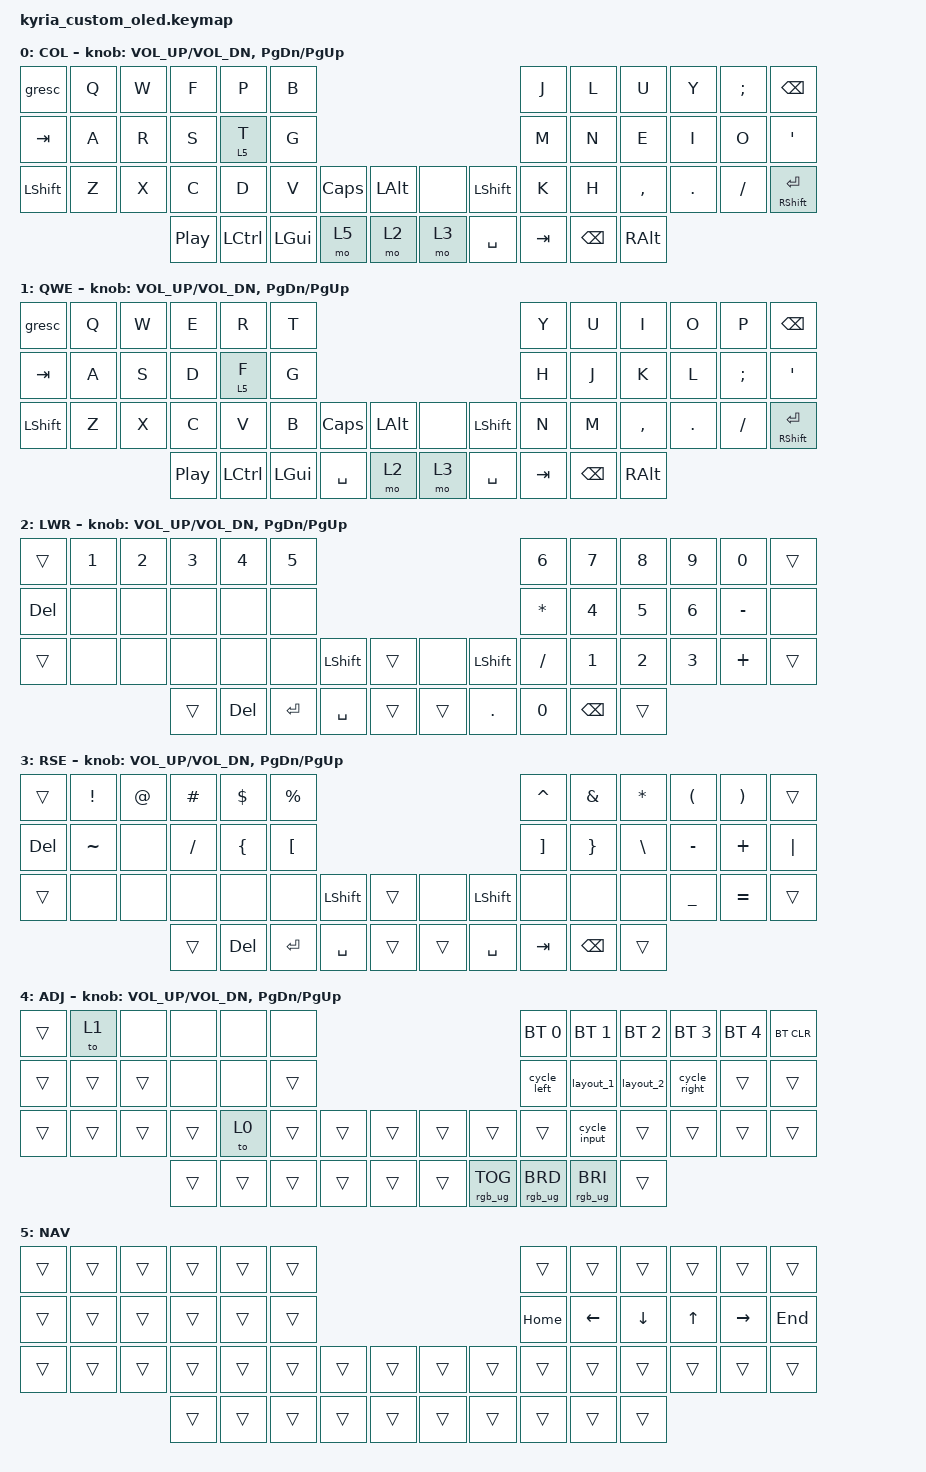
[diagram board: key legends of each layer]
/*
 * Copyright (c) 2023 The ZMK Contributors
 *
 * SPDX-License-Identifier: MIT
 */

#include <behaviors.dtsi>
#include <dt-bindings/zmk/bt.h>
#include <dt-bindings/zmk/keys.h>
#include <dt-bindings/zmk/rgb.h>

/* Layer name definitions. Top-to-bottom definition starting at zero and increasing by one.
 * See: https://github.com/zmkfirmware/zmk/issues/1284 for clarification.
 */

#define DEFAULT 0
#define QWERTY 1
#define LOWER 2
#define RAISE 3
#define ADJUST 4

&led_strip {
    chain-length = <31>; // Uncomment if using both per-key and underglow LEDs
};

&sensors { triggers-per-rotation = <36>; };

&left_encoder { steps = <72>; };

&right_encoder { steps = <72>; };

/ {
    behaviors {
        rgb_knob: rgb_knob {
            compatible = "zmk,behavior-sensor-rotate";
            #sensor-binding-cells = <0>;
            bindings = <&rgb_ug RGB_BRI>, <&rgb_ug RGB_BRD>;
        };
    };

    conditional_layers {
        compatible = "zmk,conditional-layers";

        adjust_layer {
            if-layers = <2 3>;
            then-layer = <4>;
        };
    };

    macros {
      layout_1: layout_1 {
        compatible = "zmk,behavior-macro";
        #binding-cells = <0>;
        bindings = <&macro_wait_time 100>,
                   <&kp LCTRL>,
                   <&kp LCTRL>, 
                   <&kp N1>;
      };

      layout_2: layout_2 {
        compatible = "zmk,behavior-macro";
        #binding-cells = <0>;
        bindings = <&macro_wait_time 100>,
                   <&kp LCTRL>,
                   <&kp LCTRL>,
                   <&kp N2>;
      };

      cycle_left: cycle_left {
        compatible = "zmk,behavior-macro";
        #binding-cells = <0>;
        bindings = <&macro_wait_time 100>,
                   <&kp LCTRL>,
                   <&kp LCTRL>,
                   <&kp LEFT>;
      };

      cycle_right: cycle_right {
        compatible = "zmk,behavior-macro";
        #binding-cells = <0>;
        bindings = <&macro_wait_time 100>,
                   <&kp LCTRL>,
                   <&kp LCTRL>,
                   <&kp RIGHT>;
      };

      cycle_input: cycle_input {
        compatible = "zmk,behavior-macro";
        #binding-cells = <0>;
        bindings = <&macro_wait_time 100>,
                   <&kp RALT>,
                   <&kp RALT>;
      };
    };

    keymap {
        compatible = "zmk,keymap";

        DEFAULT {
            bindings = <
            //╭──────────┬──────────┬──────────┬──────────┬──────────┬──────────╮                                              ╭──────────┬──────────┬──────────┬──────────┬──────────┬──────────╮
            //│  GrEsc   │  Q       │  W       │  F       │  P       │  B       │                                              |  J       |  L       |  U       |  Y       |  ;       |  Bksp    |
                 &gresc     &kp Q      &kp W      &kp F      &kp P      &kp B                                                     &kp J      &kp L      &kp U      &kp Y      &kp SEMI   &kp BSPC
            //├──────────┼──────────┼──────────┼──────────┼──────────┼──────────┤                                              ├──────────┼──────────┼──────────┼──────────┼──────────┼──────────┤
            //│  Tab     │  A       │  R       │  S       │  T       │  G       │                                              |  M       |  N       |  E       |  I       |  O       |  '       |
                 &kp TAB    &kp A      &kp R      &kp S      &lt 5 T    &kp G                                                     &kp M      &kp N      &kp E      &kp I      &kp O      &kp SQT
            //├──────────┼──────────┼──────────┼──────────┼──────────┼──────────┼──────────┬──────────╮  ╭──────────┬──────────┼──────────┼──────────┼──────────┼──────────┼──────────┼──────────┤
            //│  Shift   │  Z       │  X       │  C       │  D       │  V       │  Caps    |  L Alt   |  │          │  Shift   │  K       |  H       |  ,       |  .       |  /       |  Enter   |
                &kp LSHFT   &kp Z      &kp X      &kp C      &kp D      &kp V     &kp CAPS    &kp LALT      &none     &kp LSHFT   &kp K      &kp H     &kp COMMA   &kp DOT  &kp FSLH   &mt RSHFT RET
            //╰──────────┴──────────┴──────────┼──────────┼──────────┼──────────┼──────────┼──────────┤  ├──────────┼──────────┼──────────┼──────────┼──────────┼──────────┴──────────┴──────────╯
            //                                 │Play/Pause│  L Ctrl  │  L GUI   │  NavLyr  │   Lower  │  │  Raise   │  Space   │  Tab     │  Bksp    │  R Alt   │
                                                &kp C_PP    &kp LCTRL   &kp LGUI   &mo 5       &mo 2        &mo 3     &kp SPACE   &kp TAB    &kp BSPC   &kp RALT
            //                                 ╰──────────┴──────────┴──────────┴──────────┴──────────╯  ╰──────────┴──────────┴──────────┴──────────┴──────────╯
            >;

            display-name = "COL";
            sensor-bindings = <&inc_dec_kp C_VOL_UP C_VOL_DN &inc_dec_kp PG_DN PG_UP>;
        };

        QWERTY {
            bindings = <
            //╭──────────┬──────────┬──────────┬──────────┬──────────┬──────────╮                                              ╭──────────┬──────────┬──────────┬──────────┬──────────┬──────────╮
            //│  GrEsc   │  Q       │  W       │  E       │  R       │  T       │                                              |  Y       |  U       |  I       |  O       |  P       |  Bksp    |
                 &gresc     &kp Q      &kp W      &kp E      &kp R      &kp T                                                     &kp Y      &kp U      &kp I      &kp O      &kp P      &kp BSPC
            //├──────────┼──────────┼──────────┼──────────┼──────────┼──────────┤                                              ├──────────┼──────────┼──────────┼──────────┼──────────┼──────────┤
            //│  Tab     │  A       │  S       │  D       │  F       │  G       │                                              |  H       |  J       |  K       |  L       |  ;       |  '       |
                 &kp TAB    &kp A      &kp S      &kp D      &lt 5 F    &kp G                                                     &kp H      &kp J      &kp K      &kp L      &kp SEMI   &kp SQT
            //├──────────┼──────────┼──────────┼──────────┼──────────┼──────────┼──────────┬──────────╮  ╭──────────┬──────────┼──────────┼──────────┼──────────┼──────────┼──────────┼──────────┤
            //│  Shift   │  Z       │  X       │  C       │  V       │  B       │  Caps    |  L Alt   |  │          │  Shift   │  N       |  M       |  ,       |  .       |  /       |  Enter   |
               &kp LSHFT    &kp Z      &kp X      &kp C      &kp V      &kp B     &kp CAPS    &kp LALT      &none     &kp LSHFT   &kp N      &kp M     &kp COMMA   &kp DOT   &kp FSLH  &mt RSHFT RET
            //╰──────────┴──────────┴──────────┼──────────┼──────────┼──────────┼──────────┼──────────┤  ├──────────┼──────────┼──────────┼──────────┼──────────┼──────────┴──────────┴──────────╯
            //                                 │Play/Pause│  L Ctrl  │  L GUI   │  NavLyr  │  Lower   │  │  Raise   │  Space   │  Tab     │  Bksp    │  R Alt   │
                                                &kp C_PP    &kp LCTRL   &kp LGUI  &kp SPACE   &mo 2         &mo 3     &kp SPACE   &kp TAB    &kp BSPC   &kp RALT
            //                                 ╰──────────┴──────────┴──────────┴──────────┴──────────╯  ╰──────────┴──────────┴──────────┴──────────┴──────────╯
            >;

            display-name = "QWE";
            sensor-bindings = <&inc_dec_kp C_VOL_UP C_VOL_DN &inc_dec_kp PG_DN PG_UP>;
        };

        LOWER {
            bindings = <
            //╭──────────┬──────────┬──────────┬──────────┬──────────┬──────────╮                                              ╭──────────┬──────────┬──────────┬──────────┬──────────┬──────────╮
            //│          │  1       │  2       │  3       │  4       │  5       │                                              |  6       |  7       |  8       |  9       |  0       |          |
                 &trans     &kp N1     &kp N2     &kp N3     &kp N4     &kp N5                                                    &kp N6     &kp N7     &kp N8     &kp N9     &kp N0     &trans
            //├──────────┼──────────┼──────────┼──────────┼──────────┼──────────┤                                              ├──────────┼──────────┼──────────┼──────────┼──────────┼──────────┤
            //│  Del     │          │          │          │          │          │                                              |  *       |  4       |  5       |  6       |  -       |          |
                &kp DEL     &none      &none      &none      &none      &none                                                    &kp ASTRK   &kp N4     &kp N5     &kp N6    &kp MINUS   &none
            //├──────────┼──────────┼──────────┼──────────┼──────────┼──────────┼──────────┬──────────╮  ╭──────────┬──────────┼──────────┼──────────┼──────────┼──────────┼──────────┼──────────┤
            //│          │          │          │          │          │          │  Shift   |          |  │          │  Shift   │  /       |  1       |  2       |  3       |  +       |          |
                 &trans     &none      &none      &none      &none      &none     &kp LSHFT   &trans        &none     &kp LSHFT   &kp FSLH   &kp N1     &kp N2     &kp N3     &kp PLUS   &trans
            //╰──────────┴──────────┴──────────┼──────────┼──────────┼──────────┼──────────┼──────────┤  ├──────────┼──────────┼──────────┼──────────┼──────────┼──────────┴──────────┴──────────╯
            //                                 │          │  Del     │  L GUI   │  Space   │  Lower   │  │  Raise   │  .       │  0       │  Bksp    │          │
                                                  &trans     &kp DEL    &kp RET   &kp SPACE   &trans        &trans     &kp DOT    &kp N0    &kp BSPC   &trans
            //                                 ╰──────────┴──────────┴──────────┴──────────┴──────────╯  ╰──────────┴──────────┴──────────┴──────────┴──────────╯
            >;

            display-name = "LWR";
            sensor-bindings = <&inc_dec_kp C_VOL_UP C_VOL_DN &inc_dec_kp PG_DN PG_UP>;
        };

        RAISE {
            bindings = <
            //╭──────────┬──────────┬──────────┬──────────┬──────────┬──────────╮                                              ╭──────────┬──────────┬──────────┬──────────┬──────────┬──────────╮
            //│          │  !       │  @       │  #       │  $       │  %       │                                              |  ^       |  &       |  *       |  (       |  )       |          |
                 &trans    &kp EXCL   &kp AT     &kp HASH   &kp DLLR   &kp PRCNT                                                &kp CARET  &kp AMPS   &kp ASTRK  &kp LPAR   &kp RPAR    &trans
            //├──────────┼──────────┼──────────┼──────────┼──────────┼──────────┤                                              ├──────────┼──────────┼──────────┼──────────┼──────────┼──────────┤
            //│  Del     │  ~       │          │  /       │  {       │  [       │                                              |  ]       |  }       |  \       |  -       |  +       |  |       |
                &kp DEL    &kp TILDE   &none     &kp FSLH   &kp LBRC   &kp LBKT                                                  &kp RBKT   &kp RBRC   &kp BSLH   &kp MINUS  &kp PLUS   &kp PIPE
            //├──────────┼──────────┼──────────┼──────────┼──────────┼──────────┼──────────┬──────────╮  ╭──────────┬──────────┼──────────┼──────────┼──────────┼──────────┼──────────┼──────────┤
            //│          │          │          │          │          │          │  Shift   |          |  │          │  Shift   │          |          |          |  _       |  =       |          |
                 &trans     &none      &none      &none      &none      &none     &kp LSHFT   &trans        &none     &kp LSHFT   &none      &none      &none     &kp UNDER  &kp EQUAL   &trans
            //╰──────────┴──────────┴──────────┼──────────┼──────────┼──────────┼──────────┼──────────┤  ├──────────┼──────────┼──────────┼──────────┼──────────┼──────────┴──────────┴──────────╯
            //                                 │          │  Del     │  L GUI   │  Space   │  Lower   │  │  Raise   │  Space   │  Tab     │  Bksp    │          │
                                                  &trans     &kp DEL    &kp RET   &kp SPACE   &trans        &trans    &kp SPACE   &kp TAB    &kp BSPC   &trans
            //                                 ╰──────────┴──────────┴──────────┴──────────┴──────────╯  ╰──────────┴──────────┴──────────┴──────────┴──────────╯
            >;

            display-name = "RSE";
            sensor-bindings = <&inc_dec_kp C_VOL_UP C_VOL_DN &inc_dec_kp PG_DN PG_UP>;
        };

        ADJUST {
            bindings = <
            //╭──────────┬──────────┬──────────┬──────────┬──────────┬──────────╮                                                   ╭───────────────┬───────────────┬────────────┬────────────┬────────────┬──────────╮
            //│          │  QWERTY  │          │          │          │          │                                                   |BT PROFILE 1   |BT PROFILE 2   |BT PROFILE 3|BT PROFILE 4|BT PROFILE 5| BT CLEAR |
                 &trans     &to 1      &none      &none      &none      &none                                                        &bt BT_SEL 0    &bt BT_SEL 1    &bt BT_SEL 2 &bt BT_SEL 3 &bt BT_SEL 4 &bt BT_CLR
            //├──────────┼──────────┼──────────┼──────────┼──────────┼──────────┤                                                   ├───────────────┼───────────────┼────────────┼────────────┼────────────┼──────────┤
            //│          │          │          │          │          │          │                                                   |               |               |            |            |            |          |
                 &trans     &trans     &trans     &none      &none      &trans                                                         &cycle_left     &layout_1      &layout_2    &cycle_right  &trans       &trans
            //├──────────┼──────────┼──────────┼──────────┼──────────┼──────────┼──────────┬──────────╮  ╭──────────┬───────────────┼───────────────┼───────────────┼────────────┼────────────┼────────────┼──────────┤
            //│          │          │          │          │  COLEMAK │          │          |          |  │          │               │               |               |            |            |            |          |
                 &trans     &trans     &trans     &trans     &to 0      &trans     &trans     &trans        &trans     &trans          &trans          &cycle_input   &trans       &trans       &trans       &trans
            //╰──────────┴──────────┴──────────┼──────────┼──────────┼──────────┼──────────┼──────────┤  ├──────────┼───────────────┼───────────────┼───────────────┼────────────┼────────────┴────────────┴──────────╯
            //                                 │          │          │          │          │          │  │          │  RGB Toggle   │  RGB B. Down  │  RGB B. Up    │            │
                                                  &trans     &trans    &trans      &trans     &trans        &trans  &rgb_ug RGB_TOG &rgb_ug RGB_BRD &rgb_ug RGB_BRI    &trans
            //                                 ╰──────────┴──────────┴──────────┴──────────┴──────────╯  ╰──────────┴───────────────┴───────────────┴───────────────┴────────────╯
            >;

            display-name = "ADJ";
            sensor-bindings = <&inc_dec_kp C_VOL_UP C_VOL_DN &inc_dec_kp PG_DN PG_UP>;
        };

        NAVIGATION {
            bindings = <
            //╭──────────┬──────────┬──────────┬──────────┬──────────┬──────────╮                                              ╭──────────┬──────────┬──────────┬──────────┬──────────┬──────────╮
            //│          │          │          │          │          │          │                                              |          |          |          |          |          |          |
                 &trans    &trans      &trans     &trans     &trans     &trans                                                    &trans     &trans     &trans     &trans     &trans     &trans
            //├──────────┼──────────┼──────────┼──────────┼──────────┼──────────┤                                              ├──────────┼──────────┼──────────┼──────────┼──────────┼──────────┤
            //│          │          │          │          │          │          │                                              |  Home    |  ←       |  ↓       |  ↑       |  →       |  End     |
                 &trans     &trans     &trans     &trans     &trans     &trans                                                    &kp HOME   &kp LEFT   &kp DOWN   &kp UP     &kp RIGHT  &kp END
            //├──────────┼──────────┼──────────┼──────────┼──────────┼──────────┼──────────┬──────────╮  ╭──────────┬──────────┼──────────┼──────────┼──────────┼──────────┼──────────┼──────────┤
            //│          │          │          │          │          │          │          |          |  │          │          │          |          |          |          |          |          |
                 &trans     &trans     &trans     &trans     &trans     &trans     &trans     &trans        &trans     &trans     &trans     &trans     &trans     &trans     &trans     &trans
            //╰──────────┴──────────┴──────────┼──────────┼──────────┼──────────┼──────────┼──────────┤  ├──────────┼──────────┼──────────┼──────────┼──────────┼──────────┴──────────┴──────────╯
            //                                 │          │          │          │          │          │  │          │          │          │          │          │
                                                  &trans     &trans     &trans     &trans     &trans        &trans     &trans     &trans     &trans    &trans
            //                                 ╰──────────┴──────────┴──────────┴──────────┴──────────╯  ╰──────────┴──────────┴──────────┴──────────┴──────────╯
            >;

            display-name = "NAV";
        };
    };
};
